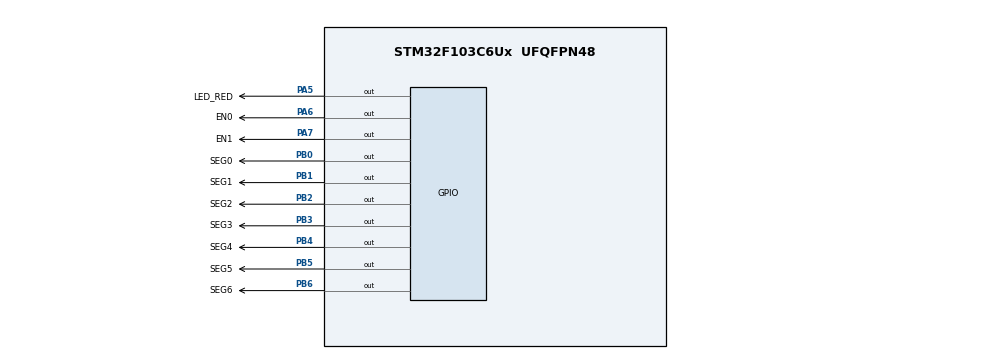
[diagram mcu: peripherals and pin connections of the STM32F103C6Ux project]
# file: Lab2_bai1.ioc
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Mcu.Family=STM32F1
Mcu.Name=STM32F103C6Ux
Mcu.Package=UFQFPN48
NVIC.PriorityGroup=NVIC_PRIORITYGROUP_4
NVIC.TIM2_IRQn=true\:0\:0\:false\:false\:true\:true\:true
PA5.GPIO_Label=LED_RED
PA5.Signal=GPIO_Output
PA6.GPIO_Label=EN0
PA6.Signal=GPIO_Output
PA7.GPIO_Label=EN1
PA7.Signal=GPIO_Output
PB0.GPIO_Label=SEG0
PB0.Signal=GPIO_Output
PB1.GPIO_Label=SEG1
PB1.Signal=GPIO_Output
PB2.GPIO_Label=SEG2
PB2.Signal=GPIO_Output
PB3.GPIO_Label=SEG3
PB3.Signal=GPIO_Output
PB4.GPIO_Label=SEG4
PB4.Signal=GPIO_Output
PB5.GPIO_Label=SEG5
PB5.Signal=GPIO_Output
PB6.GPIO_Label=SEG6
PB6.Signal=GPIO_Output
ProjectManager.HeapSize=0x200
ProjectManager.StackSize=0x400
ProjectManager.TargetToolchain=STM32CubeIDE
RCC.APB1Freq_Value=8000000
RCC.APB2Freq_Value=8000000
TIM2.Period=9
TIM2.Prescaler=7999
VP_SYS_VS_ND.Mode=No_Debug
VP_TIM2_VS_ClockSourceINT.Mode=Internal
board=custom

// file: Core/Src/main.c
/* USER CODE BEGIN Header */
/**
  ******************************************************************************
  * @file           : main.c
  * @brief          : Main program body
  ******************************************************************************
  * @attention
  *
  * <h2><center>&copy; Copyright (c) 2022 STMicroelectronics.
  * All rights reserved.</center></h2>
  *
  * This software component is licensed by ST under BSD 3-Clause license,
  * the "License"; You may not use this file except in compliance with the
  * License. You may obtain a copy of the License at:
  *                        opensource.org/licenses/BSD-3-Clause
  *
  ******************************************************************************
  */
/* USER CODE END Header */
#include "main.h"

/* USER CODE BEGIN PM */
#define setTimer 50
/* USER CODE END PM */

TIM_HandleTypeDef htim2;

void SystemClock_Config(void);
static void MX_GPIO_Init(void);
static void MX_TIM2_Init(void);
int time_counter=50;
int status=1;
unsigned char segmentNumber[10]={
		0x40,
		0x79,
		0x24,
		0x30,
		0x19,
		0x12,
		0x02,
		0x78,
		0x00,
		0x10
};
void display7SEG(int counter){
	unsigned char num = segmentNumber[counter];
	HAL_GPIO_WritePin(SEG0_GPIO_Port, SEG0_Pin, ((num>>0)&0x01));
	HAL_GPIO_WritePin(SEG1_GPIO_Port, SEG1_Pin, ((num>>1)&0x01));
	HAL_GPIO_WritePin(SEG2_GPIO_Port, SEG2_Pin, ((num>>2)&0x01));
	HAL_GPIO_WritePin(SEG3_GPIO_Port, SEG3_Pin, ((num>>3)&0x01));
	HAL_GPIO_WritePin(SEG4_GPIO_Port, SEG4_Pin, ((num>>4)&0x01));
	HAL_GPIO_WritePin(SEG5_GPIO_Port, SEG5_Pin, ((num>>5)&0x01));
	HAL_GPIO_WritePin(SEG6_GPIO_Port, SEG6_Pin, ((num>>6)&0x01));
}

int main(void)
{

  /* MCU Configuration--------------------------------------------------------*/

  /* Reset of all peripherals, Initializes the Flash interface and the Systick. */
  HAL_Init();

  /* Configure the system clock */
  SystemClock_Config();

  /* Initialize all configured peripherals */
  MX_GPIO_Init();
  MX_TIM2_Init();
  HAL_TIM_Base_Start_IT (& htim2 );
  /* Infinite loop */
  while (1)
  {

  }
}

void SystemClock_Config(void)
{
  RCC_OscInitTypeDef RCC_OscInitStruct = {0};
  RCC_ClkInitTypeDef RCC_ClkInitStruct = {0};

  /** Initializes the RCC Oscillators according to the specified parameters
  * in the RCC_OscInitTypeDef structure.
  */
  RCC_OscInitStruct.OscillatorType = RCC_OSCILLATORTYPE_HSI;
  RCC_OscInitStruct.HSIState = RCC_HSI_ON;
  RCC_OscInitStruct.HSICalibrationValue = RCC_HSICALIBRATION_DEFAULT;
  RCC_OscInitStruct.PLL.PLLState = RCC_PLL_NONE;
  if (HAL_RCC_OscConfig(&RCC_OscInitStruct) != HAL_OK)
  {
    Error_Handler();
  }
  /** Initializes the CPU, AHB and APB buses clocks
  */
  RCC_ClkInitStruct.ClockType = RCC_CLOCKTYPE_HCLK|RCC_CLOCKTYPE_SYSCLK
                              |RCC_CLOCKTYPE_PCLK1|RCC_CLOCKTYPE_PCLK2;
  RCC_ClkInitStruct.SYSCLKSource = RCC_SYSCLKSOURCE_HSI;
  RCC_ClkInitStruct.AHBCLKDivider = RCC_SYSCLK_DIV1;
  RCC_ClkInitStruct.APB1CLKDivider = RCC_HCLK_DIV1;
  RCC_ClkInitStruct.APB2CLKDivider = RCC_HCLK_DIV1;

  if (HAL_RCC_ClockConfig(&RCC_ClkInitStruct, FLASH_LATENCY_0) != HAL_OK)
  {
    Error_Handler();
  }
}

static void MX_TIM2_Init(void)
{

  TIM_ClockConfigTypeDef sClockSourceConfig = {0};
  TIM_MasterConfigTypeDef sMasterConfig = {0};

  htim2.Instance = TIM2;
  htim2.Init.Prescaler = 7999;
  htim2.Init.CounterMode = TIM_COUNTERMODE_UP;
  htim2.Init.Period = 9;
  htim2.Init.ClockDivision = TIM_CLOCKDIVISION_DIV1;
  htim2.Init.AutoReloadPreload = TIM_AUTORELOAD_PRELOAD_DISABLE;
  if (HAL_TIM_Base_Init(&htim2) != HAL_OK)
  {
    Error_Handler();
  }
  sClockSourceConfig.ClockSource = TIM_CLOCKSOURCE_INTERNAL;
  if (HAL_TIM_ConfigClockSource(&htim2, &sClockSourceConfig) != HAL_OK)
  {
    Error_Handler();
  }
  sMasterConfig.MasterOutputTrigger = TIM_TRGO_RESET;
  sMasterConfig.MasterSlaveMode = TIM_MASTERSLAVEMODE_DISABLE;
  if (HAL_TIMEx_MasterConfigSynchronization(&htim2, &sMasterConfig) != HAL_OK)
  {
    Error_Handler();
  }

}

static void MX_GPIO_Init(void)
{
  GPIO_InitTypeDef GPIO_InitStruct = {0};

  /* GPIO Ports Clock Enable */
  __HAL_RCC_GPIOA_CLK_ENABLE();
  __HAL_RCC_GPIOB_CLK_ENABLE();

  /*Configure GPIO pin Output Level */
  HAL_GPIO_WritePin(GPIOA, LED_RED_Pin|EN0_Pin|EN1_Pin, GPIO_PIN_RESET);

  /*Configure GPIO pin Output Level */
  HAL_GPIO_WritePin(GPIOB, SEG0_Pin|SEG1_Pin|SEG2_Pin|SEG3_Pin
                          |SEG4_Pin|SEG5_Pin|SEG6_Pin, GPIO_PIN_RESET);

  /*Configure GPIO pins : LED_RED_Pin EN0_Pin EN1_Pin */
  GPIO_InitStruct.Pin = LED_RED_Pin|EN0_Pin|EN1_Pin;
  GPIO_InitStruct.Mode = GPIO_MODE_OUTPUT_PP;
  GPIO_InitStruct.Pull = GPIO_NOPULL;
  GPIO_InitStruct.Speed = GPIO_SPEED_FREQ_LOW;
  HAL_GPIO_Init(GPIOA, &GPIO_InitStruct);

  /*Configure GPIO pins : SEG0_Pin SEG1_Pin SEG2_Pin SEG3_Pin
                           SEG4_Pin SEG5_Pin SEG6_Pin */
  GPIO_InitStruct.Pin = SEG0_Pin|SEG1_Pin|SEG2_Pin|SEG3_Pin
                          |SEG4_Pin|SEG5_Pin|SEG6_Pin;
  GPIO_InitStruct.Mode = GPIO_MODE_OUTPUT_PP;
  GPIO_InitStruct.Pull = GPIO_NOPULL;
  GPIO_InitStruct.Speed = GPIO_SPEED_FREQ_LOW;
  HAL_GPIO_Init(GPIOB, &GPIO_InitStruct);

}

/* USER CODE BEGIN 4 */
void timerRun(){
	time_counter--;
	if(time_counter<=0){
		time_counter=setTimer;
		HAL_GPIO_TogglePin(LED_RED_GPIO_Port, LED_RED_Pin);
		switch (status){
		case 1:
			HAL_GPIO_WritePin(EN0_GPIO_Port, EN0_Pin, RESET);
			HAL_GPIO_WritePin(EN1_GPIO_Port, EN1_Pin, SET);
			display7SEG(1);
			status = 2;
			break;
		case 2:
			HAL_GPIO_WritePin(EN0_GPIO_Port, EN0_Pin, SET);
			HAL_GPIO_WritePin(EN1_GPIO_Port, EN1_Pin, RESET);
			display7SEG(2);
			status = 1;
			break;
		default:
			break;
		}
	}
}

void HAL_TIM_PeriodElapsedCallback(TIM_HandleTypeDef *htim){
	timerRun();
}
/* USER CODE END 4 */

void Error_Handler(void)
{
  __disable_irq();
  while (1)
  {
  }
}

/************************ (C) COPYRIGHT STMicroelectronics *****END OF FILE****/
